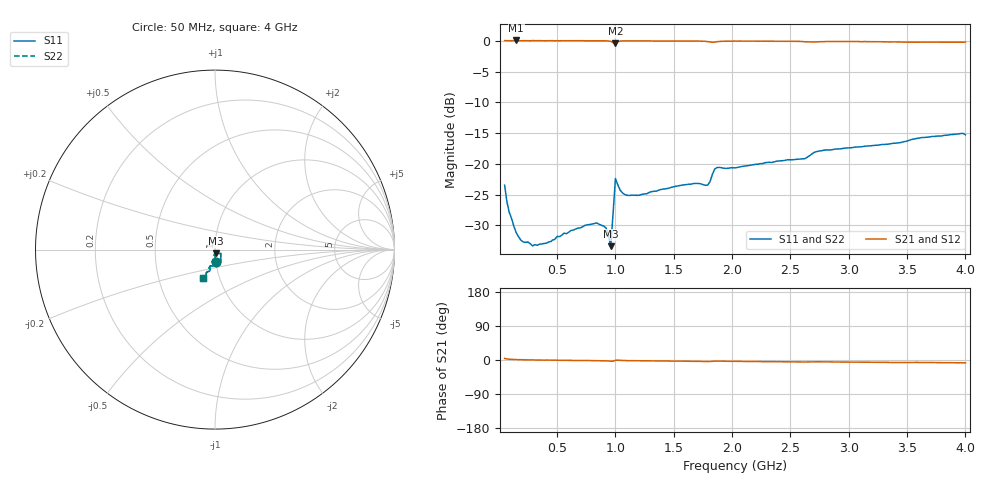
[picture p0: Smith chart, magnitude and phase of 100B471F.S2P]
!  American Technical Ceramics  Date:  3/13/98
!  One Norden Lane
!  Huntington Station,  NY.  11746-2102
!  Tel:  (516) 547-5700  Fax:  (516) 547-5748
!  Part Number  100b471f
!  Description: Porcelain, High Q, Low ESR
!  Application: Bypass, Coupling, Timing, Feedback
!  Tuning, Impedance Match, Blocking
# GHZ S DB R 50
! Freq  |S11|  S11 Ph  |S21|  S21 Ph  |S12|  S12 Ph  |S22|  S22 Ph
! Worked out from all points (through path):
!   201 points, 50 MHz to 4 GHz, reference 50 ohm
!   highest |S21| = 0.05 dB at 150 MHz (marker M1); lowest = -0.4 dB at 1 GHz (marker M2)
!   group delay of S21, straight-line fit = 5.66 ps
!   lowest |S11| = -33.4 dB at 960 MHz (marker M3), VSWR 1.04, Z = 50.6 - j2.08 ohm
!   |S11| at or under -10 dB: start of sweep to end of sweep
!   |S22| runs from -33.4 to -15.0 dB; largest |S21 - S12| = 0
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0.05  -23.45 -85.6  0.03 4.1  0.03 4.1  -23.45 -85.6
0.07  -26.17 -88.2  0.01 2.8  0.01 2.8  -26.17 -88.2
0.09  -27.88 -89.7  0.01 2.1  0.01 2.1  -27.88 -89.7
0.15  -31.20 -90.7  0.05 1.2  0.05 1.2  -31.20 -90.7
0.19  -32.39 -90.8  0.01 1.0  0.01 1.0  -32.39 -90.8
0.29  -33.31 -92.4  0.03 0.2  0.03 0.2  -33.31 -92.4
0.72  -30.20 -96.7  0.01 -1.5  0.01 -1.5  -30.20 -96.7
0.84  -29.60 -97.4  -0.01 -1.6  -0.01 -1.6  -29.60 -97.4
0.9  -30.10 -96.1  -0.01 -2.0  -0.01 -2.0  -30.10 -96.1
0.92  -30.43 -95.5  -0.01 -2.2  -0.01 -2.2  -30.43 -95.5
0.96  -33.36 -72.9  -0.09 -3.0  -0.09 -3.0  -33.36 -72.9
1  -22.37 -65.3  -0.39 -0.7  -0.39 -0.7  -22.37 -65.3
1.04  -24.24 -93.1  -0.05 -0.9  -0.05 -0.9  -24.24 -93.1
1.1  -25.10 -97.7  -0.02 -1.6  -0.02 -1.6  -25.10 -97.7
1.37  -24.28 -101.6  -0.02 -2.4  -0.02 -2.4  -24.28 -101.6
1.79  -23.45 -96.2  -0.13 -4.2  -0.13 -4.2  -23.45 -96.2
1.87  -20.60 -97.5  -0.16 -2.9  -0.16 -2.9  -20.60 -97.5
2.03  -20.63 -105.2  -0.06 -3.5  -0.06 -3.5  -20.63 -105.2
2.62  -19.17 -105.7  -0.16 -5.3  -0.16 -5.3  -19.17 -105.7
2.7  -18.17 -104.2  -0.20 -4.8  -0.20 -4.8  -18.17 -104.2
3.35  -16.76 -110.1  -0.19 -6.3  -0.19 -6.3  -16.76 -110.1
4  -15.26 -113.6  -0.21 -7.4  -0.21 -7.4  -15.26 -113.6
